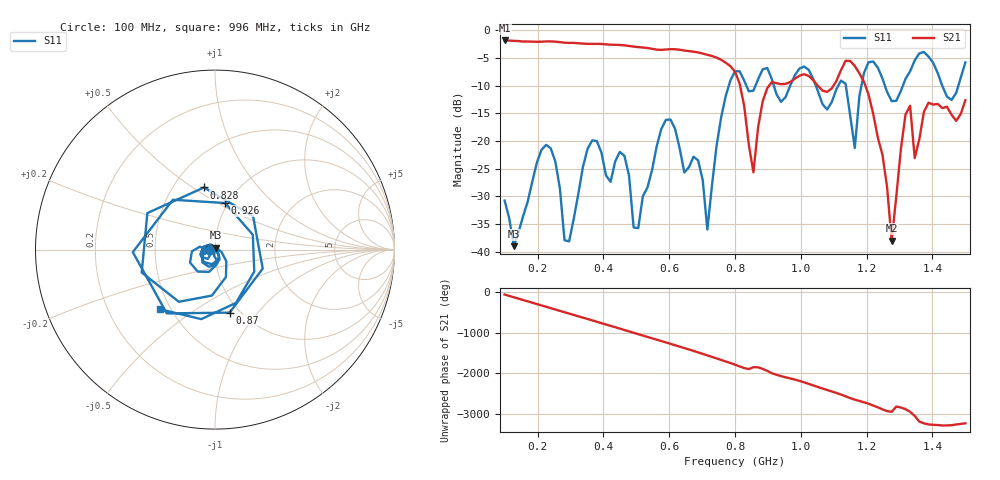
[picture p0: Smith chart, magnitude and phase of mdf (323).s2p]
! NanoVNA-App
! Date: 2025-09-25 15:40:56
! Start: 100MHz Stop: 1,5GHz Points: 101
! S-Parameter data: F S11 S21 S12 S22
# Hz S RI R 50
!  Frequency  S11_Real  S11_Imag  S21_Real  S21_Imag  S12_Real  S12_Imag  S22_Real  S22_Imag
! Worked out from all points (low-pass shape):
!   101 points, 100 MHz to 1.5 GHz, reference 50 ohm
!   highest |S21| = -1.80 dB at 100 MHz (marker M1); lowest = -38.0 dB at 1.276 GHz (marker M2)
!   |S21| within 3 dB of the highest: start of sweep to 739.3 MHz
!   lowest |S11| = -39.0 dB at 128 MHz (marker M3), VSWR 1.02, Z = 50.3 + j1.08 ohm
!   |S11| at or under -10 dB: start of sweep to 781.1 MHz; 1.046 GHz to 1.114 GHz (67.97 MHz wide, 6.3 % of centre); 1.256 GHz to 1.31 GHz (54.35 MHz wide, 4.24 % of centre) (the widest 3 of 7)
!   S12 and S22 are empty: the file has one direction only
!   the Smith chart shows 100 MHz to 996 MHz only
!   S11 on the Smith chart (normalised r, x): 100 MHz: 0.94, -0.01; 828 MHz: 0.70, +0.56; 870 MHz: 0.90, -0.73; 926 MHz: 0.97, +0.54; 996 MHz: 0.44, -0.36
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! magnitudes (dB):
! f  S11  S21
! 100 MHz  -30.8  -1.8
! 128 MHz  -39.0  -1.9
! 212 MHz  -21.6  -2.0
! 282 MHz  -37.9  -2.2
! 338 MHz  -24.7  -2.4
! 464 MHz  -22.7  -2.7
! 506 MHz  -35.7  -3.0
! 576 MHz  -17.8  -3.5
! 688 MHz  -23.5  -4.0
! 716 MHz  -36.0  -4.4
! 800 MHz  -7.4  -7.4
! 828 MHz  -9.1  -13.7
! 856 MHz  -10.9  -25.6
! 870 MHz  -8.9  -17.6
! 926 MHz  -11.5  -9.5
! 996 MHz  -6.9  -8.2
! 1.038 GHz  -8.8  -9.0
! 1.164 GHz  -21.2  -6.4
! 1.192 GHz  -7.7  -9.3
! 1.276 GHz  -12.8  -38.0
! 1.318 GHz  -8.8  -15.2
! 1.5 GHz  -5.8  -12.6
